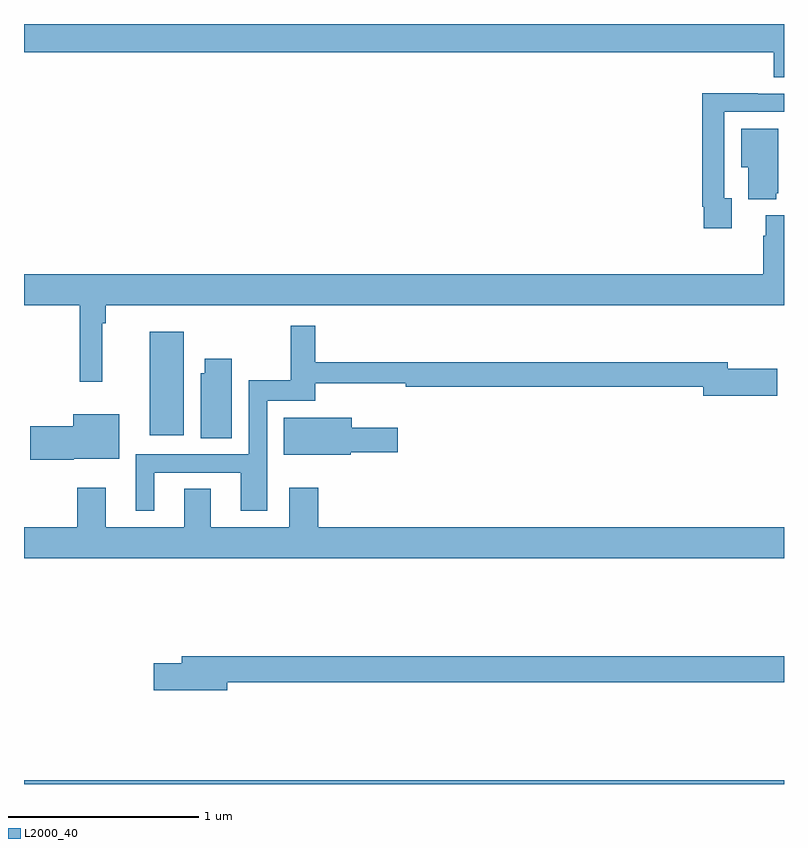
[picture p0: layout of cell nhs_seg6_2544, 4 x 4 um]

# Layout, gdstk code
import gdstk
lib = gdstk.Library(unit=1e-6, precision=1e-09)
def R(c, l, rs):  # rectangles x0, y0, x1, y1
    for r in rs: c.add(gdstk.rectangle(r[:2], r[2:], *l))
def P(c, l, *ps):  # polygons
    for p in ps: c.add(gdstk.Polygon(p, *l))
L2000_40 = (2000, 40)

nhs_seg6_2544 = lib.new_cell('nhs_seg6_2544')
R(nhs_seg6_2544, L2000_40, [(263,927.5,267,927.52), (263.663,929.336,263.842,929.881)])
P(nhs_seg6_2544, L2000_40, [(267,931.5),(263,931.5),(263,931.352),(266.945,931.352),(266.945,931.219),(267,931.219)],
  [(266.725,930.582),(266.685,930.582),(266.685,931.038),(267,931.038),(267,931.134),(266.861,931.134),(266.861,931.136),(266.569,931.136),(266.569,930.538),(266.577,930.538),(266.577,930.426),(266.725,930.426)],
  [(266.96,930.609),(266.971,930.609),(266.971,930.949),(266.774,930.949),(266.774,930.746),(266.813,930.746),(266.813,930.578),(266.96,930.578)],
  [(263.412,929.924),(263.429,929.924),(263.429,930.02),(267,930.02),(267,930.493),(266.903,930.493),(266.903,930.386),(266.891,930.386),(266.891,930.184),(263,930.184),(263,930.02),(263.293,930.02),(263.293,929.616),(263.412,929.616)],
  [(263.686,929.139),(264.14,929.139),(264.14,928.938),(264.279,928.938),(264.279,929.517),(264.533,929.517),(264.533,929.609),(264.81,929.609),(264.81,929.608),(265.01,929.608),(265.01,929.59),(266.576,929.59),(266.576,929.543),(266.965,929.543),(266.965,929.685),(266.704,929.685),(266.704,929.719),(264.533,929.719),(264.533,929.911),(264.405,929.911),(264.405,929.626),(264.183,929.626),(264.183,929.235),(263.588,929.235),(263.588,928.938),(263.686,928.938)],
  [(264.094,929.737),(263.951,929.737),(263.951,929.661),(263.93,929.661),(263.93,929.32),(264.094,929.32)],
  [(263.262,929.213),(263.5,929.213),(263.5,929.446),(263.258,929.446),(263.258,929.384),(263.034,929.384),(263.034,929.206),(263.262,929.206)],
  [(264.72,929.245),(264.967,929.245),(264.967,929.374),(264.724,929.374),(264.724,929.428),(264.368,929.428),(264.368,929.234),(264.72,929.234)],
  [(267,928.852),(264.548,928.852),(264.548,929.059),(264.395,929.059),(264.395,928.852),(263.983,928.852),(263.983,929.054),(263.843,929.054),(263.843,928.852),(263.431,928.852),(263.431,929.059),(263.279,929.059),(263.279,928.852),(263,928.852),(263,928.688),(267,928.688)],
  [(264.07,928.036),(267,928.036),(267,928.172),(263.831,928.172),(263.831,928.136),(263.682,928.136),(263.682,927.994),(264.07,927.994)])

lib.write_gds('nhs_seg6_2544.gds')
